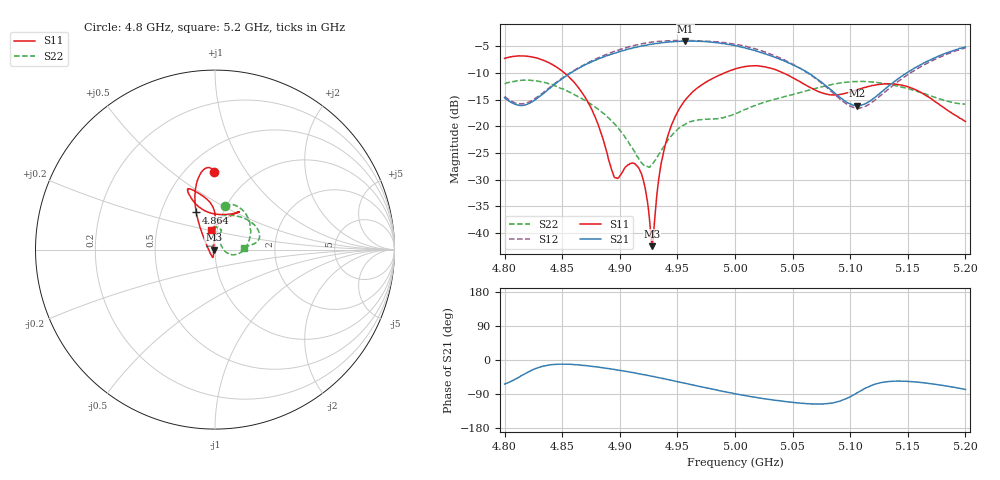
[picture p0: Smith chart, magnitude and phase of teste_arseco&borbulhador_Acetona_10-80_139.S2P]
! Network Analyzer HP8722D
! Hewlett-Packard
! Data name: Linha & Wilkinson
! Saver's name: Rodrigo Anjos
! Comments: Teste da utilização de aquisição
! continua pelo VNA HP8722D
! Time and date: 25/4/2025 16:25
!  Frequency  S11  S21  S12  S22
# HZ  S  MA R 50
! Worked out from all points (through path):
!   401 points, 4.8 GHz to 5.2 GHz, reference 50 ohm
!   highest |S21| = -3.98 dB at 4.957 GHz (marker M1); lowest = -16.1 dB at 5.106 GHz (marker M2)
!   lowest |S11| = -42.5 dB at 4.928 GHz (marker M3), VSWR 1.02, Z = 49.3 - j0.0843 ohm
!   |S11| at or under -10 dB: 4.852 GHz to 4.991 GHz (138.4 MHz wide, 2.81 % of centre); 5.042 GHz to end of sweep
!   |S22| runs from -27.7 to -11.3 dB; largest |S21 - S12| = 1.2
!   S11 on the Smith chart (normalised r, x): 4.8 GHz: 0.68, +0.72; 4.864 GHz: 0.75, +0.33; 5.2 GHz: 0.94, +0.21
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4.8e9  0.4344 90.7  0.1852 -63.6  0.1904 69.9  0.2501 76.8
4.82e9  0.4534 97.0  0.1613 -32.3  0.1671 98.7  0.2711 61.5
4.843e9  0.372 106.3  0.2463 -11.8  0.2498 118.9  0.2431 36.7
4.864e9  0.2315 116.7  0.3497 -12.8  0.3538 121.0  0.1891 12.0
4.867e9  0.2085 118.4  0.3635 -13.8  0.3681 120.7  0.1823 8.6
4.88e9  0.1116 128.9  0.4232 -18.3  0.4332 118.2  0.1476 -5.4
4.896e9  0.03282 -166.0  0.4868 -25.3  0.5085 113.1  0.104 -16.1
4.909e9  0.04483 -108.6  0.5374 -32.0  0.5613 107.5  0.06661 -14.5
4.917e9  0.03954 -104.1  0.5616 -36.6  0.5897 103.4  0.04795 -1.2
4.922e9  0.02632 -107.7  0.5756 -39.2  0.6029 100.6  0.04218 17.2
4.928e9  0.007491 -173.4  0.592 -42.9  0.6173 97.0  0.04384 41.4
4.93e9  0.01233 126.7  0.5966 -44.1  0.6197 95.7  0.04689 48.9
4.934e9  0.03311 100.6  0.6035 -47.0  0.6304 93.2  0.05505 58.5
4.943e9  0.09 91.1  0.6201 -52.5  0.6367 87.4  0.07663 68.8
4.957e9  0.1777 89.6  0.6325 -61.6  0.6382 78.5  0.1052 71.4
5e9  0.3458 109.1  0.5718 -89.1  0.5906 50.7  0.1312 88.4
5.03e9  0.3536 115.2  0.4641 -104.1  0.48 34.0  0.1734 85.2
5.067e9  0.226 105.3  0.3008 -115.9  0.2973 23.6  0.222 56.8
5.106e9  0.2202 64.7  0.1561 -86.7  0.1485 56.3  0.2632 24.7
5.134e9  0.2511 57.3  0.2422 -56.6  0.2274 88.7  0.2476 12.3
5.168e9  0.1886 69.4  0.4137 -61.7  0.3975 85.2  0.1957 7.0
5.2e9  0.1114 100.5  0.5556 -77.6  0.5457 70.1  0.1614 3.7
